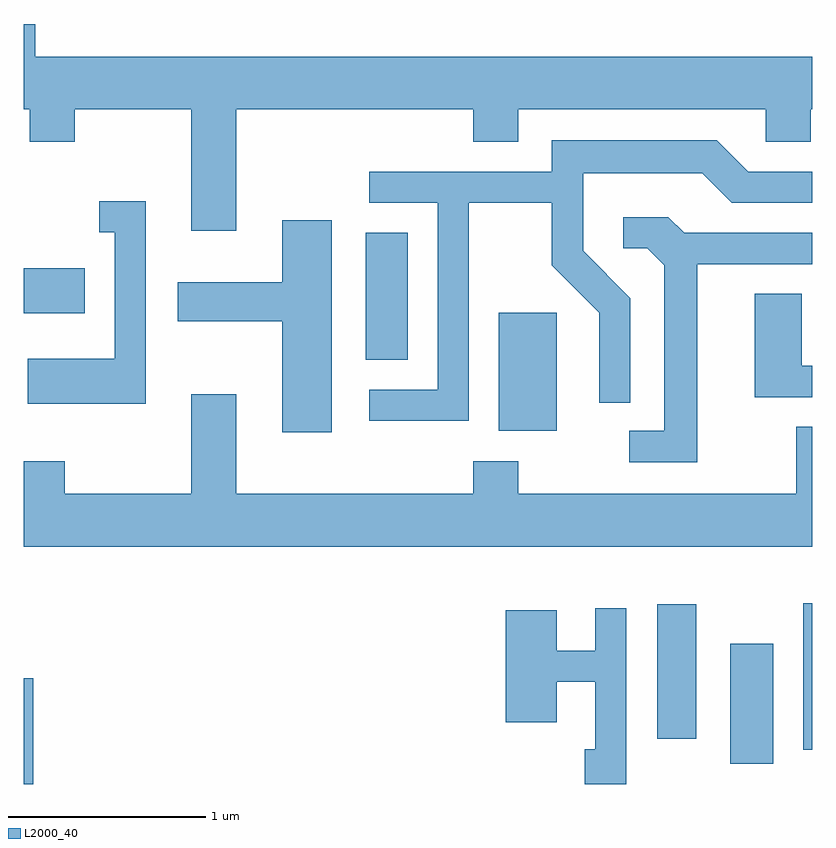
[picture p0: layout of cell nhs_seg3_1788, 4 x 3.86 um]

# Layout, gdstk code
import gdstk
lib = gdstk.Library(unit=1e-6, precision=1e-09)
def R(c, l, rs):  # rectangles x0, y0, x1, y1
    for r in rs: c.add(gdstk.rectangle(r[:2], r[2:], *l))
def P(c, l, *ps):  # polygons
    for p in ps: c.add(gdstk.Polygon(p, *l))
L2000_40 = (2000, 40)

nhs_seg3_1788 = lib.new_cell('nhs_seg3_1788')
R(nhs_seg3_1788, L2000_40, [(237.611,1155.892,237.659,1156.429), (241.196,1155.996,241.414,1156.604), (241.566,1156.066,241.611,1156.809), (240.826,1156.121,241.024,1156.804), (240.021,1157.686,240.314,1158.284), (239.346,1158.046,239.559,1158.689), (237.611,1158.281,237.919,1158.509)])
P(nhs_seg3_1788, L2000_40, [(238.689,1159.316),(239.891,1159.316),(239.891,1159.151),(240.119,1159.151),(240.119,1159.316),(241.376,1159.316),(241.376,1159.151),(241.604,1159.151),(241.604,1159.316),(241.611,1159.316),(241.611,1159.584),(237.669,1159.584),(237.669,1159.749),(237.611,1159.749),(237.611,1159.316),(237.641,1159.316),(237.641,1159.151),(237.869,1159.151),(237.869,1159.316),(238.461,1159.316),(238.461,1158.701),(238.689,1158.701)],
  [(239.869,1158.841),(240.291,1158.841),(240.291,1158.524),(240.531,1158.284),(240.531,1157.828),(240.689,1157.828),(240.689,1158.357),(240.449,1158.597),(240.449,1158.991),(241.054,1158.991),(241.204,1158.841),(241.611,1158.841),(241.611,1158.999),(241.287,1158.999),(241.127,1159.159),(240.291,1159.159),(240.291,1158.999),(239.363,1158.999),(239.363,1158.841),(239.711,1158.841),(239.711,1157.894),(239.363,1157.894),(239.363,1157.736),(239.869,1157.736)],
  [(238.229,1158.849),(237.993,1158.849),(237.993,1158.691),(238.071,1158.691),(238.071,1158.049),(237.631,1158.049),(237.631,1157.821),(238.229,1157.821)],
  [(241.029,1158.531),(241.611,1158.531),(241.611,1158.689),(240.962,1158.689),(240.882,1158.769),(240.653,1158.769),(240.653,1158.611),(240.774,1158.611),(240.861,1158.524),(240.861,1157.684),(240.683,1157.684),(240.683,1157.526),(241.029,1157.526)],
  [(239.174,1158.754),(238.921,1158.754),(238.921,1158.439),(238.391,1158.439),(238.391,1158.241),(238.921,1158.241),(238.921,1157.676),(239.174,1157.676)],
  [(241.611,1158.014),(241.559,1158.014),(241.559,1158.379),(241.321,1158.379),(241.321,1157.856),(241.611,1157.856)],
  [(241.611,1157.704),(241.531,1157.704),(241.531,1157.364),(240.119,1157.364),(240.119,1157.529),(239.891,1157.529),(239.891,1157.364),(238.689,1157.364),(238.689,1157.869),(238.461,1157.869),(238.461,1157.364),(237.819,1157.364),(237.819,1157.529),(237.611,1157.529),(237.611,1157.096),(241.611,1157.096)],
  [(240.669,1156.783),(240.511,1156.783),(240.511,1156.569),(240.314,1156.569),(240.314,1156.774),(240.056,1156.774),(240.056,1156.206),(240.314,1156.206),(240.314,1156.411),(240.511,1156.411),(240.511,1156.069),(240.456,1156.069),(240.456,1155.892),(240.669,1155.892)])

lib.write_gds('nhs_seg3_1788.gds')
